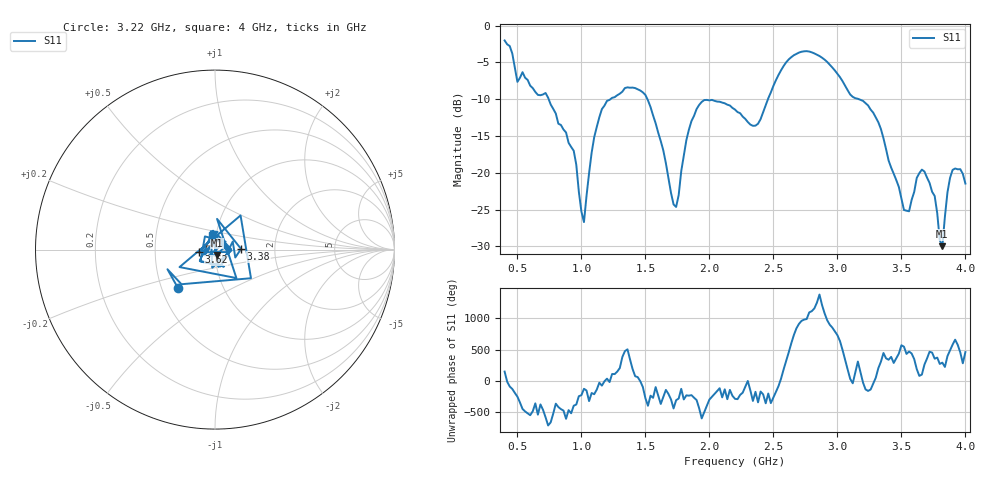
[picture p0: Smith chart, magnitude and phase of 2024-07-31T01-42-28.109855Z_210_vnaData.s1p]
!Created with skrf (http://scikit-rf.org).
# Hz S RI R 50.0
!freq ReS11 ImS11
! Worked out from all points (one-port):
!   181 points, 400 MHz to 4 GHz, reference 50 ohm
!   lowest |S11| = -30.0 dB at 3.82 GHz (marker M1), VSWR 1.07, Z = 51.2 - j3 ohm
!   |S11| at or under -10 dB: 744.3 MHz to 1.227 GHz (482.2 MHz wide, 48.9 % of centre); 1.516 GHz to 2.457 GHz (941.7 MHz wide, 47.4 % of centre); 3.168 GHz to end of sweep
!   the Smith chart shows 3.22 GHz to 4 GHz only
!   S11 on the Smith chart (normalised r, x): 3.22 GHz: 0.61, -0.29; 3.38 GHz: 1.34, +0.01; 3.62 GHz: 0.83, -0.03; 4 GHz: 0.96, +0.16
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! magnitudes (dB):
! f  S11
! 400 MHz  -2.0
! 500 MHz  -7.6
! 720 MHz  -9.2
! 860 MHz  -14.1
! 940 MHz  -17.0
! 1.02 GHz  -26.7
! 1.08 GHz  -17.3
! 1.14 GHz  -12.5
! 1.3 GHz  -9.3
! 1.5 GHz  -9.4
! 1.72 GHz  -24.3
! 1.76 GHz  -23.0
! 1.82 GHz  -15.6
! 1.92 GHz  -10.8
! 2.2 GHz  -11.4
! 2.38 GHz  -13.3
! 2.66 GHz  -4.0
! 2.88 GHz  -4.4
! 3.1 GHz  -9.4
! 3.22 GHz  -10.5
! 3.38 GHz  -16.8
! 3.56 GHz  -25.2
! 3.62 GHz  -20.7
! 3.76 GHz  -23.1
! 3.82 GHz  -30.0
! 3.86 GHz  -22.6
! 3.9 GHz  -19.6
! 4 GHz  -21.5
